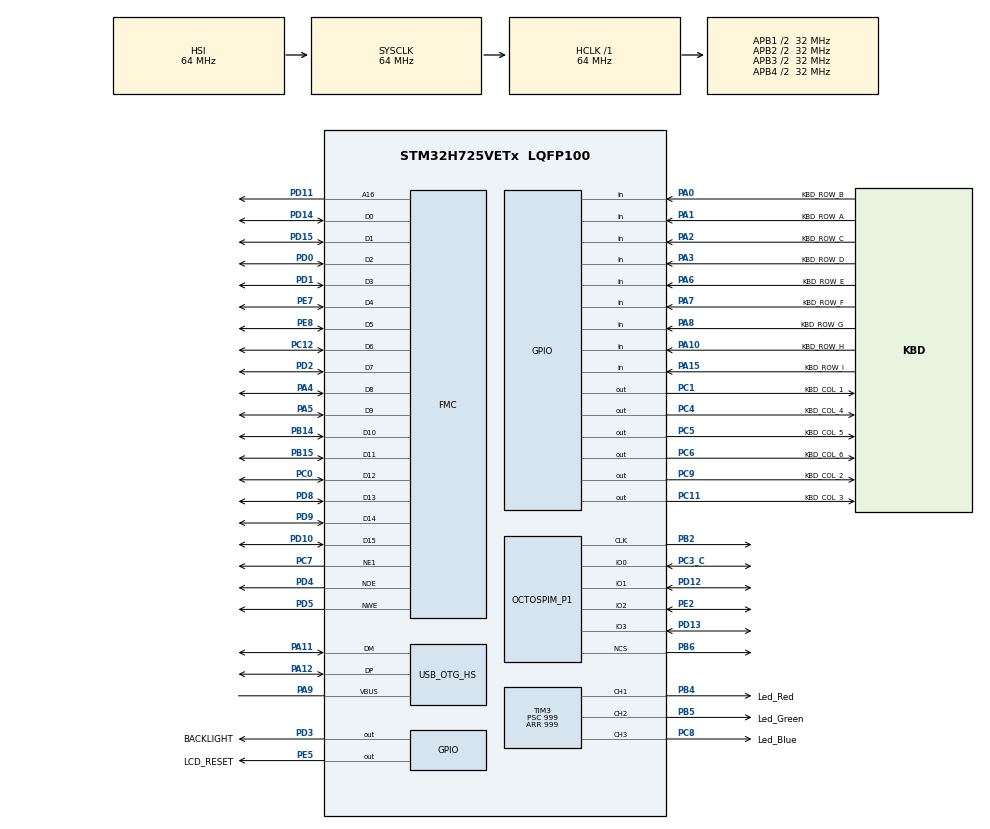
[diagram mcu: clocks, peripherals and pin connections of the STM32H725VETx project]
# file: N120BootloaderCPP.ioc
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CORTEX_M7.default_mode_Activation=0
Mcu.Family=STM32H7
Mcu.Name=STM32H725VETx
Mcu.Package=LQFP100
NVIC.OTG_HS_IRQn=true\:0\:0\:false\:false\:true\:false\:true\:true
NVIC.PriorityGroup=NVIC_PRIORITYGROUP_4
NVIC.TIM2_IRQn=true\:0\:0\:false\:false\:true\:true\:true\:true
OCTOSPI1.ChipSelectHighTime=2
OCTOSPI1.ClockPrescaler=4
OCTOSPI1.DeviceSize=23
OCTOSPI1.DeviceType=SPI_DEVICE_FLASH
OCTOSPI1.FifoThreshold=4
OCTOSPI1.MemoryType=HAL_OSPI_MEMTYPE_MACRONIX_RAM
PA0.GPIO_Label=KBD_ROW_B
PA0.GPIO_PuPd=GPIO_PULLDOWN
PA0.Signal=GPIO_Input
PA1.GPIO_Label=KBD_ROW_A
PA1.GPIO_PuPd=GPIO_PULLDOWN
PA1.Signal=GPIO_Input
PA10.GPIO_Label=KBD_ROW_H
PA10.GPIO_PuPd=GPIO_PULLDOWN
PA10.Signal=GPIO_Input
PA11.Mode=Device_Only_FS
PA11.Signal=USB_OTG_HS_DM
PA12.Mode=Device_Only_FS
PA12.Signal=USB_OTG_HS_DP
PA15(JTDI).GPIO_Label=KBD_ROW_I
PA15(JTDI).GPIO_PuPd=GPIO_PULLDOWN
PA15(JTDI).Signal=GPIO_Input
PA2.GPIO_Label=KBD_ROW_C
PA2.GPIO_PuPd=GPIO_PULLDOWN
PA2.Signal=GPIO_Input
PA3.GPIO_Label=KBD_ROW_D
PA3.GPIO_PuPd=GPIO_PULLDOWN
PA3.Signal=GPIO_Input
PA4.Signal=FMC_D8_DA8
PA5.Signal=FMC_D9_DA9
PA6.GPIO_Label=KBD_ROW_E
PA6.GPIO_PuPd=GPIO_PULLDOWN
PA6.Signal=GPIO_Input
PA7.GPIO_Label=KBD_ROW_F
PA7.GPIO_PuPd=GPIO_PULLDOWN
PA7.Signal=GPIO_Input
PA8.GPIO_Label=KBD_ROW_G
PA8.GPIO_PuPd=GPIO_PULLDOWN
PA8.Signal=GPIO_Input
PA9.Mode=Activate_VBUS_FS
PA9.Signal=USB_OTG_HS_VBUS
PB14.Signal=FMC_D10_DA10
PB15.Signal=FMC_D11_DA11
PB2.Mode=O1_P1_CLK
PB2.Signal=OCTOSPIM_P1_CLK
PB4(NJTRST).GPIO_Label=Led_Red
PB4(NJTRST).Signal=S_TIM3_CH1
PB5.GPIO_Label=Led_Green
PB5.Signal=S_TIM3_CH2
PB6.Mode=OCTOSPI1_Port1_NCS
PB6.Signal=OCTOSPIM_P1_NCS
PC0.Signal=FMC_D12_DA12
PC1.GPIO_Label=KBD_COL_1
PC1.GPIO_PuPd=GPIO_PULLUP
PC1.GPIO_Speed=GPIO_SPEED_FREQ_HIGH
PC1.PinState=GPIO_PIN_RESET
PC1.Signal=GPIO_Output
PC11.GPIO_Label=KBD_COL_3
PC11.GPIO_PuPd=GPIO_PULLUP
PC11.Signal=GPIO_Output
PC12.Signal=FMC_D6_DA6
PC14-OSC32_IN.Mode=LSE-External-Oscillator
PC14-OSC32_IN.Signal=RCC_OSC32_IN
PC15-OSC32_OUT.Mode=LSE-External-Oscillator
PC15-OSC32_OUT.Signal=RCC_OSC32_OUT
PC3_C.Mode=OCTOSPI1_IOL_Port1L
PC3_C.Signal=OCTOSPIM_P1_IO0
PC4.GPIO_Label=KBD_COL_4
PC4.GPIO_PuPd=GPIO_PULLUP
PC4.GPIO_Speed=GPIO_SPEED_FREQ_HIGH
PC4.PinState=GPIO_PIN_RESET
PC4.Signal=GPIO_Output
PC5.GPIO_Label=KBD_COL_5
PC5.GPIO_PuPd=GPIO_PULLUP
PC5.GPIO_Speed=GPIO_SPEED_FREQ_HIGH
PC5.PinState=GPIO_PIN_RESET
PC5.Signal=GPIO_Output
PC6.GPIO_Label=KBD_COL_6
PC6.GPIO_PuPd=GPIO_PULLUP
PC6.Signal=GPIO_Output
PC7.Mode=NorPsramChipSelect1_1
PC7.Signal=FMC_NE1
PC8.GPIO_Label=Led_Blue
PC8.Signal=S_TIM3_CH3
PC9.GPIO_Label=KBD_COL_2
PC9.GPIO_PuPd=GPIO_PULLUP
PC9.Signal=GPIO_Output
PD0.Signal=FMC_D2_DA2
PD1.Signal=FMC_D3_DA3
PD10.Signal=FMC_D15_DA15
PD11.Signal=FMC_A16_CLE
PD12.Mode=OCTOSPI1_IOL_Port1L
PD12.Signal=OCTOSPIM_P1_IO1
PD13.Mode=OCTOSPI1_IOL_Port1L
PD13.Signal=OCTOSPIM_P1_IO3
PD14.Signal=FMC_D0_DA0
PD15.Signal=FMC_D1_DA1
PD2.Signal=FMC_D7_DA7
PD3.GPIO_Label=BACKLIGHT
PD3.Signal=GPIO_Output
PD4.Signal=FMC_NOE
PD5.Signal=FMC_NWE
PD8.Signal=FMC_D13_DA13
PD9.Signal=FMC_D14_DA14
PE2.Mode=OCTOSPI1_IOL_Port1L
PE2.Signal=OCTOSPIM_P1_IO2
PE5.GPIO_Label=LCD_RESET
PE5.Signal=GPIO_Output
PE7.Signal=FMC_D4_DA4
PE8.Signal=FMC_D5_DA5
PH0-OSC_IN.Mode=HSE-External-Oscillator
PH0-OSC_IN.Signal=RCC_OSC_IN
PH1-OSC_OUT.Mode=HSE-External-Oscillator
PH1-OSC_OUT.Signal=RCC_OSC_OUT
ProjectManager.HeapSize=0x200
ProjectManager.StackSize=0x400
ProjectManager.TargetToolchain=STM32CubeIDE
RCC.ADCFreq_Value=50390625
RCC.APB1Freq_Value=32000000
RCC.APB2Freq_Value=32000000
RCC.APB3Freq_Value=32000000
RCC.APB4Freq_Value=32000000
RCC.CortexFreq_Value=64000000
RCC.D1PPRE=RCC_APB3_DIV2
RCC.D2PPRE1=RCC_APB1_DIV2
RCC.D2PPRE2=RCC_APB2_DIV2
RCC.D3PPRE=RCC_APB4_DIV2
RCC.DIVM1=4
RCC.DIVN1=31
RCC.DIVP1=1
RCC.DIVQ1=4
RCC.HCLKFreq_Value=64000000
RCC.PLL2FRACN=0
RCC.PLL3FRACN=0
RCC.PLLFRACN=0
RCC.PLLSourceVirtual=RCC_PLLSOURCE_HSE
RCC.PWR_Regulator_Voltage_Scale=PWR_REGULATOR_VOLTAGE_SCALE1
RCC.SYSCLKFreq_VALUE=64000000
RCC.SupplySource=PWR_DIRECT_SMPS_SUPPLY
RCC.USBCLockSelection=RCC_USBCLKSOURCE_HSI48
RCC.USBFreq_Value=48000000
SH.FMC_A16_CLE.0=FMC_A16,A16_1
SH.FMC_D0_DA0.0=FMC_D0,16b-d1
SH.FMC_D10_DA10.0=FMC_D10,16b-d1
SH.FMC_D11_DA11.0=FMC_D11,16b-d1
SH.FMC_D12_DA12.0=FMC_D12,16b-d1
SH.FMC_D13_DA13.0=FMC_D13,16b-d1
SH.FMC_D14_DA14.0=FMC_D14,16b-d1
SH.FMC_D15_DA15.0=FMC_D15,16b-d1
SH.FMC_D1_DA1.0=FMC_D1,16b-d1
SH.FMC_D2_DA2.0=FMC_D2,16b-d1
SH.FMC_D3_DA3.0=FMC_D3,16b-d1
SH.FMC_D4_DA4.0=FMC_D4,16b-d1
SH.FMC_D5_DA5.0=FMC_D5,16b-d1
SH.FMC_D6_DA6.0=FMC_D6,16b-d1
SH.FMC_D7_DA7.0=FMC_D7,16b-d1
SH.FMC_D8_DA8.0=FMC_D8,16b-d1
SH.FMC_D9_DA9.0=FMC_D9,16b-d1
SH.FMC_NOE.0=FMC_NOE,Lcd1
SH.FMC_NWE.0=FMC_NWE,Lcd1
SH.S_TIM3_CH1.0=TIM3_CH1,PWM Generation1 CH1
SH.S_TIM3_CH2.0=TIM3_CH2,PWM Generation2 CH2
SH.S_TIM3_CH3.0=TIM3_CH3,PWM Generation3 CH3
TIM2.Period=1000
TIM2.Prescaler=9999
TIM3.Channel-PWM\ Generation1\ CH1=TIM_CHANNEL_1
TIM3.Channel-PWM\ Generation2\ CH2=TIM_CHANNEL_2
TIM3.Channel-PWM\ Generation3\ CH3=TIM_CHANNEL_3
TIM3.Period=999
TIM3.Prescaler=999
USB_DEVICE.CLASS_NAME_HS=CDC
USB_DEVICE.VirtualMode=Cdc
USB_DEVICE.VirtualModeHS=Cdc_HS
USB_OTG_HS.VirtualMode-Device_Only_FS=Device_Only_FS
VP_MEMORYMAP_VS_MEMORYMAP.Mode=CurAppReg
VP_OCTOSPI1_VS_quad.Mode=quad_mode
VP_RCC_LSE.Mode=CRS SYNC Source LSE
VP_TIM2_VS_ClockSourceINT.Mode=Internal
VP_USB_DEVICE_VS_USB_DEVICE_CDC_HS.Mode=CDC_HS
board=custom

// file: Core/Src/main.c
/* USER CODE BEGIN Header */
/**
  ******************************************************************************
  * @file           : main.c
  * @brief          : Main program body
  ******************************************************************************
  * @attention
  *
  * Copyright (c) 2025 STMicroelectronics.
  * All rights reserved.
  *
  * This software is licensed under terms that can be found in the LICENSE file
  * in the root directory of this software component.
  * If no LICENSE file comes with this software, it is provided AS-IS.
  *
  ******************************************************************************
  */
/* USER CODE END Header */
#include "main.h"
#include "usb_device.h"

/* USER CODE BEGIN Includes */
#include "usbd_cdc_if.h"
#include <stdio.h>
#include <stdlib.h>
#include <stdarg.h>
#include <string.h>
#include <stdint.h>
#include <inttypes.h>
/* USER CODE END Includes */

/* USER CODE BEGIN PD */
#define CMD_RDID  0x9F
/* USER CODE END PD */

/* USER CODE BEGIN PM */
//#define LCD_BASE    ((uint32_t *) 0x60000000)
/* USER CODE END PM */

OSPI_HandleTypeDef hospi1;

TIM_HandleTypeDef htim2;
TIM_HandleTypeDef htim3;

SRAM_HandleTypeDef hsram1;

/* USER CODE BEGIN PV */
uint16_t rowPins[] = {KBD_ROW_A_Pin, KBD_ROW_B_Pin, KBD_ROW_C_Pin, KBD_ROW_D_Pin, KBD_ROW_E_Pin, KBD_ROW_F_Pin, KBD_ROW_G_Pin, KBD_ROW_H_Pin, KBD_ROW_I_Pin};
GPIO_TypeDef *rowPorts[] = {KBD_ROW_A_GPIO_Port, KBD_ROW_B_GPIO_Port, KBD_ROW_C_GPIO_Port, KBD_ROW_D_GPIO_Port, KBD_ROW_E_GPIO_Port, KBD_ROW_F_GPIO_Port, KBD_ROW_G_GPIO_Port, KBD_ROW_H_GPIO_Port, KBD_ROW_I_GPIO_Port};

uint16_t colPins[] = {KBD_COL_1_Pin, KBD_COL_2_Pin, KBD_COL_3_Pin, KBD_COL_4_Pin, KBD_COL_5_Pin, KBD_COL_6_Pin};
GPIO_TypeDef *colPorts[] = {KBD_COL_1_GPIO_Port, KBD_COL_2_GPIO_Port, KBD_COL_3_GPIO_Port, KBD_COL_4_GPIO_Port, KBD_COL_5_GPIO_Port, KBD_COL_6_GPIO_Port};

Color color = {255, 0, 0};

const static int FSMCMemoryBank = 1;
const static int FSMCDataCommandAddressBit = 16;

const static uint32_t FSMCBaseAddress = 0x60000000;
const static uint32_t FSMCBankAddress = FSMCBaseAddress + (FSMCMemoryBank-1)*0x04000000;

static volatile uint16_t * const CommandAddress = (uint16_t *)(FSMCBankAddress);
static volatile uint16_t * const DataAddress = (uint16_t *)(FSMCBankAddress | (1<<(FSMCDataCommandAddressBit+1)));

void (*timeoutCallback)() = NULL;

typedef enum {
  Nop = 0x00,
  Reset = 0x01,
  ReadDisplayID = 0x04,
  SleepIn = 0x10,
  SleepOut = 0x11,
  DisplayInversionOff = 0x20,
  DisplayInversionOn = 0x21,
  DisplayOff = 0x28,
  DisplayOn = 0x29,
  ColumnAddressSet = 0x2A,
  PageAddressSet = 0x2B,
  MemoryWrite = 0x2C,
  MemoryRead = 0x2E,
  TearingEffectLineOn = 0x35,
  MemoryAccessControl = 0x36,
  PixelFormatSet = 0x3A,
  FrameRateControl = 0xC6,
  PositiveVoltageGammaControl = 0xE0,
  NegativeVoltageGammaControl = 0xE1
} Command;
/* USER CODE END PV */

void SystemClock_Config(void);
static void MX_GPIO_Init(void);
static void MX_TIM3_Init(void);
static void MX_FMC_Init(void);
static void MX_TIM2_Init(void);
static void MX_OCTOSPI1_Init(void);
/* USER CODE BEGIN PFP */
void UART_SendChar(char c);
void UART_SendString(char *str);
void setLedColor(Color color);
int keydown(KeyboardPos pos);
void sendMessage(char *message);
void LCD_WriteCommand(Command cmd);
void LCD_WriteData(uint8_t data);
uint32_t panelIdentifier();
void LCD_Init(void);
void LCD_DrawPixel(uint16_t x, uint16_t y, uint16_t color);
void LCD_SetBrightness(int brightness);
uint16_t RGB565(uint8_t r, uint8_t g, uint8_t b);
uint8_t ReadFlashID(void);
void OctoSPI_SendCommand(uint8_t instruction, uint8_t *data, uint16_t dataSize);
void EnableQuadSPI();

char *uint32_to_str(uint32_t value) {
    char *buffer = (char *)malloc(11 * sizeof(char));
    if (buffer == NULL) return NULL;

    snprintf(buffer, 11, "%lu", value);
    return buffer;
}

char *concat_strings(int num, ...) {
    if (num <= 0) return NULL;

    va_list args;
    va_start(args, num);

    // Calculer la taille totale nécessaire
    size_t total_length = 0;
    for (int i = 0; i < num; i++) {
        const char *str = va_arg(args, const char*);
        if (!str) str = ""; // Gérer les NULL comme des chaînes vides
        total_length += strlen(str);
    }

    va_end(args);

    // Allouer la mémoire pour la chaîne finale
    char *result = (char *)malloc(total_length + 1); // +1 pour '\0'
    if (!result) return NULL;

    result[0] = '\0'; // Initialiser à une chaîne vide

    // Concaténer toutes les chaînes
    va_start(args, num);
    for (int i = 0; i < num; i++) {
        const char *str = va_arg(args, const char*);
        if (!str) str = "";
        strcat(result, str);
    }
    va_end(args);

    return result; // L'utilisateur devra libérer la mémoire
}
/* USER CODE END PFP */

int main(void)
{

  /* MCU Configuration--------------------------------------------------------*/

  /* Reset of all peripherals, Initializes the Flash interface and the Systick. */
  HAL_Init();

  /* Configure the system clock */
  SystemClock_Config();

  /* Initialize all configured peripherals */
  MX_GPIO_Init();
  MX_TIM3_Init();
  MX_USB_DEVICE_Init();
  MX_FMC_Init();
  MX_TIM2_Init();
  MX_OCTOSPI1_Init();
  /* USER CODE BEGIN 2 */
  HAL_TIM_PWM_Start(&htim3, TIM_CHANNEL_1);
  HAL_TIM_PWM_Start(&htim3, TIM_CHANNEL_2);
  HAL_TIM_PWM_Start(&htim3, TIM_CHANNEL_3);

  /*setLedColor((Color){255, 255, 0});
  HAL_Delay(250);
  setLedColor((Color){0, 0, 0});
  HAL_Delay(250);
  setLedColor((Color){255, 255, 0});
  HAL_Delay(250);
  setLedColor((Color){0, 0, 0});
  HAL_Delay(250);

  HAL_GPIO_WritePin(GPIOE, GPIO_PIN_5, 1);
  HAL_Delay(10000);
  sendMessage(uint32_to_str_dynamic(panelIdentifier()));*/
  EnableQuadSPI();

  setLedColor((Color){0, 255, 0});
  HAL_Delay(250);
  setLedColor((Color){0, 0, 0});
  HAL_Delay(250);
  setLedColor((Color){0, 255, 0});
  HAL_Delay(250);
  setLedColor((Color){0, 0, 0});
  HAL_Delay(250);

  //Color color = {255, 0, 0};
  //setLedColor(color);
  /* USER CODE END 2 */

  /* Infinite loop */
  /* USER CODE BEGIN WHILE */
  //LCD_Init();
  //LCD_SetBrightness(1);
  //int b = 0;
  Color color = {255, 0, 0};
  setLedColor(color);
  while (1)
  {
	HAL_Delay(1000);
	sendMessage(uint32_to_str(ReadFlashID()));
	//if(keydown(KEY_SHIFT)) LCD_DrawPixel(10, 10, RGB565(255, 0, 0));
	//if(keydown(KEY_ALPHA)) LCD_DrawPixel(10, 10, RGB565(0, 255, 0));
	//HAL_Delay(100);
	//LCD_WriteCommand(MemoryWrite);
	//LCD_WriteData(RGB565(255, 0, 0));
	//LCD_DrawPixel(10, 10, RGB565(255, 0, 0));
	//LCD_SetBrightness(b + 1);
	//HAL_Delay(500);
	//b++;
	//if(b >= 13) b=13;
	/*if(keydown((KeyboardPos){8, 0})) {

	}*/
	/*if(keydown(KEY_LEFT)) sendMessage("LEFT\r\n");
	if(keydown(KEY_UP)) sendMessage("UP\r\n");
	if(keydown(KEY_DOWN)) sendMessage("DOWN\r\n");
	if(keydown(KEY_RIGHT)) sendMessage("RIGHT\r\n");
	if(keydown(KEY_OK)) sendMessage("OK\r\n");
	if(keydown(KEY_BACK)) sendMessage("BACK\r\n");
	if(keydown(KEY_HOME)) sendMessage("HOME\r\n");
	if(keydown(KEY_ONOFF)) sendMessage("ONOFF\r\n");
	if(keydown(KEY_SHIFT)) sendMessage("SHIFT\r\n");
	if(keydown(KEY_ALPHA)) sendMessage("ALPHA\r\n");
	if(keydown(KEY_XNT)) sendMessage("XNT\r\n");
	if(keydown(KEY_VAR)) sendMessage("VAR\r\n");
	if(keydown(KEY_TOOLBOX)) sendMessage("TOOLBOX\r\n");
	if(keydown(KEY_BACKSPACE)) sendMessage("BACKSPACE\r\n");
	if(keydown(KEY_EXP)) sendMessage("EXP\r\n");
	if(keydown(KEY_LN)) sendMessage("LN\r\n");
	if(keydown(KEY_LOG)) sendMessage("LOG\r\n");
	if(keydown(KEY_IMAGINARY)) sendMessage("IMAGINARY\r\n");
	if(keydown(KEY_COMMA)) sendMessage("COMMA\r\n");
	if(keydown(KEY_POWER)) sendMessage("POWER\r\n");
	if(keydown(KEY_SINE)) sendMessage("SINE\r\n");
	if(keydown(KEY_COSINE)) sendMessage("COSINE\r\n");
	if(keydown(KEY_TANGENT)) sendMessage("TANGENT\r\n");
	if(keydown(KEY_PI)) sendMessage("PI\r\n");
	if(keydown(KEY_SQRT)) sendMessage("SQRT\r\n");
	if(keydown(KEY_SQUARE)) sendMessage("SQUARE\r\n");
	if(keydown(KEY_SEVEN)) sendMessage("SEVEN\r\n");
	if(keydown(KEY_EIGHT)) sendMessage("EIGHT\r\n");
	if(keydown(KEY_NINE)) sendMessage("NINE\r\n");
	if(keydown(KEY_LEFTPARENTHESIS)) sendMessage("LEFTPARENTHESIS\r\n");
	if(keydown(KEY_RIGHTPARENTHESIS)) sendMessage("RIGHTPARENTHESIS\r\n");
	if(keydown(KEY_FOUR)) sendMessage("FOUR\r\n");
	if(keydown(KEY_FIVE)) sendMessage("FIVE\r\n");
	if(keydown(KEY_SIX)) sendMessage("SIX\r\n");
	if(keydown(KEY_MULTIPLICATION)) sendMessage("MULTIPLICATION\r\n");
	if(keydown(KEY_DIVISION)) sendMessage("DIVISION\r\n");
	if(keydown(KEY_ONE)) sendMessage("ONE\r\n");
	if(keydown(KEY_TWO)) sendMessage("TWO\r\n");
	if(keydown(KEY_THREE)) sendMessage("THREE\r\n");
	if(keydown(KEY_PLUS)) sendMessage("PLUS\r\n");
	if(keydown(KEY_MINUS)) sendMessage("MINUS\r\n");
	if(keydown(KEY_ZERO)) sendMessage("ZERO\r\n");
	if(keydown(KEY_DOT)) sendMessage("DOT\r\n");
	if(keydown(KEY_EE)) sendMessage("EE\r\n");
	if(keydown(KEY_ANS)) sendMessage("ANS\r\n");
	if(keydown(KEY_EXE)) sendMessage("EXE\r\n");*/
	//if(keydown(KEY_ONE)) sendMessage("ONE\r\n");
	//HAL_Delay(250);
	/*for (int i=0; i<255; i++) {
		color.Green += 1;
		setLedColor(color);
		HAL_Delay(2);
	}
	for (int i=0; i<255; i++) {
		color.Red -= 1;
		setLedColor(color);
		HAL_Delay(2);
	}
	for (int i=0; i<255; i++) {
		color.Blue += 1;
		setLedColor(color);
		HAL_Delay(2);
	}
	for (int i=0; i<255; i++) {
		color.Green -= 1;
		setLedColor(color);
		HAL_Delay(2);
	}
	for (int i=0; i<255; i++) {
		color.Red += 1;
		setLedColor(color);
		HAL_Delay(2);
	}
	for (int i=0; i<255; i++) {
		color.Blue -= 1;
		setLedColor(color);
		HAL_Delay(2);
	}*/
    /* USER CODE END WHILE */

  }
}

void SystemClock_Config(void)
{
  RCC_OscInitTypeDef RCC_OscInitStruct = {0};
  RCC_ClkInitTypeDef RCC_ClkInitStruct = {0};
  RCC_CRSInitTypeDef RCC_CRSInitStruct = {0};

  /** Supply configuration update enable
  */
  HAL_PWREx_ConfigSupply(PWR_DIRECT_SMPS_SUPPLY);

  /** Configure the main internal regulator output voltage
  */
  __HAL_PWR_VOLTAGESCALING_CONFIG(PWR_REGULATOR_VOLTAGE_SCALE1);

  while(!__HAL_PWR_GET_FLAG(PWR_FLAG_VOSRDY)) {}

  /** Configure LSE Drive Capability
  */
  HAL_PWR_EnableBkUpAccess();
  __HAL_RCC_LSEDRIVE_CONFIG(RCC_LSEDRIVE_LOW);

  /** Initializes the RCC Oscillators according to the specified parameters
  * in the RCC_OscInitTypeDef structure.
  */
  RCC_OscInitStruct.OscillatorType = RCC_OSCILLATORTYPE_HSI48|RCC_OSCILLATORTYPE_HSI
                              |RCC_OSCILLATORTYPE_LSE;
  RCC_OscInitStruct.LSEState = RCC_LSE_ON;
  RCC_OscInitStruct.HSIState = RCC_HSI_DIV1;
  RCC_OscInitStruct.HSICalibrationValue = 64;
  RCC_OscInitStruct.HSI48State = RCC_HSI48_ON;
  RCC_OscInitStruct.PLL.PLLState = RCC_PLL_NONE;
  if (HAL_RCC_OscConfig(&RCC_OscInitStruct) != HAL_OK)
  {
    Error_Handler();
  }

  /** Initializes the CPU, AHB and APB buses clocks
  */
  RCC_ClkInitStruct.ClockType = RCC_CLOCKTYPE_HCLK|RCC_CLOCKTYPE_SYSCLK
                              |RCC_CLOCKTYPE_PCLK1|RCC_CLOCKTYPE_PCLK2
                              |RCC_CLOCKTYPE_D3PCLK1|RCC_CLOCKTYPE_D1PCLK1;
  RCC_ClkInitStruct.SYSCLKSource = RCC_SYSCLKSOURCE_HSI;
  RCC_ClkInitStruct.SYSCLKDivider = RCC_SYSCLK_DIV1;
  RCC_ClkInitStruct.AHBCLKDivider = RCC_HCLK_DIV1;
  RCC_ClkInitStruct.APB3CLKDivider = RCC_APB3_DIV2;
  RCC_ClkInitStruct.APB1CLKDivider = RCC_APB1_DIV2;
  RCC_ClkInitStruct.APB2CLKDivider = RCC_APB2_DIV2;
  RCC_ClkInitStruct.APB4CLKDivider = RCC_APB4_DIV2;

  if (HAL_RCC_ClockConfig(&RCC_ClkInitStruct, FLASH_LATENCY_0) != HAL_OK)
  {
    Error_Handler();
  }

  /** Enable the SYSCFG APB clock
  */
  __HAL_RCC_CRS_CLK_ENABLE();

  /** Configures CRS
  */
  RCC_CRSInitStruct.Prescaler = RCC_CRS_SYNC_DIV1;
  RCC_CRSInitStruct.Source = RCC_CRS_SYNC_SOURCE_LSE;
  RCC_CRSInitStruct.Polarity = RCC_CRS_SYNC_POLARITY_RISING;
  RCC_CRSInitStruct.ReloadValue = __HAL_RCC_CRS_RELOADVALUE_CALCULATE(48000000,32768);
  RCC_CRSInitStruct.ErrorLimitValue = 34;
  RCC_CRSInitStruct.HSI48CalibrationValue = 32;

  HAL_RCCEx_CRSConfig(&RCC_CRSInitStruct);
}

static void MX_OCTOSPI1_Init(void)
{

  OSPIM_CfgTypeDef sOspiManagerCfg = {0};

  /* OCTOSPI1 parameter configuration*/
  hospi1.Instance = OCTOSPI1;
  hospi1.Init.FifoThreshold = 4;
  hospi1.Init.DualQuad = HAL_OSPI_DUALQUAD_DISABLE;
  hospi1.Init.MemoryType = HAL_OSPI_MEMTYPE_MACRONIX_RAM;
  hospi1.Init.DeviceSize = 23;
  hospi1.Init.ChipSelectHighTime = 2;
  hospi1.Init.FreeRunningClock = HAL_OSPI_FREERUNCLK_DISABLE;
  hospi1.Init.ClockMode = HAL_OSPI_CLOCK_MODE_0;
  hospi1.Init.WrapSize = HAL_OSPI_WRAP_NOT_SUPPORTED;
  hospi1.Init.ClockPrescaler = 4;
  hospi1.Init.SampleShifting = HAL_OSPI_SAMPLE_SHIFTING_NONE;
  hospi1.Init.DelayHoldQuarterCycle = HAL_OSPI_DHQC_DISABLE;
  hospi1.Init.ChipSelectBoundary = 0;
  hospi1.Init.DelayBlockBypass = HAL_OSPI_DELAY_BLOCK_BYPASSED;
  hospi1.Init.MaxTran = 0;
  hospi1.Init.Refresh = 0;
  if (HAL_OSPI_Init(&hospi1) != HAL_OK)
  {
    Error_Handler();
  }
  sOspiManagerCfg.ClkPort = 1;
  sOspiManagerCfg.NCSPort = 1;
  sOspiManagerCfg.IOLowPort = HAL_OSPIM_IOPORT_1_LOW;
  if (HAL_OSPIM_Config(&hospi1, &sOspiManagerCfg, HAL_OSPI_TIMEOUT_DEFAULT_VALUE) != HAL_OK)
  {
    Error_Handler();
  }

}

static void MX_TIM2_Init(void)
{

  TIM_ClockConfigTypeDef sClockSourceConfig = {0};
  TIM_MasterConfigTypeDef sMasterConfig = {0};

  htim2.Instance = TIM2;
  htim2.Init.Prescaler = 9999;
  htim2.Init.CounterMode = TIM_COUNTERMODE_UP;
  htim2.Init.Period = 1000;
  htim2.Init.ClockDivision = TIM_CLOCKDIVISION_DIV1;
  htim2.Init.AutoReloadPreload = TIM_AUTORELOAD_PRELOAD_DISABLE;
  if (HAL_TIM_Base_Init(&htim2) != HAL_OK)
  {
    Error_Handler();
  }
  sClockSourceConfig.ClockSource = TIM_CLOCKSOURCE_INTERNAL;
  if (HAL_TIM_ConfigClockSource(&htim2, &sClockSourceConfig) != HAL_OK)
  {
    Error_Handler();
  }
  sMasterConfig.MasterOutputTrigger = TIM_TRGO_RESET;
  sMasterConfig.MasterSlaveMode = TIM_MASTERSLAVEMODE_DISABLE;
  if (HAL_TIMEx_MasterConfigSynchronization(&htim2, &sMasterConfig) != HAL_OK)
  {
    Error_Handler();
  }

}

static void MX_TIM3_Init(void)
{

  TIM_MasterConfigTypeDef sMasterConfig = {0};
  TIM_OC_InitTypeDef sConfigOC = {0};

  htim3.Instance = TIM3;
  htim3.Init.Prescaler = 999;
  htim3.Init.CounterMode = TIM_COUNTERMODE_UP;
  htim3.Init.Period = 999;
  htim3.Init.ClockDivision = TIM_CLOCKDIVISION_DIV1;
  htim3.Init.AutoReloadPreload = TIM_AUTORELOAD_PRELOAD_DISABLE;
  if (HAL_TIM_PWM_Init(&htim3) != HAL_OK)
  {
    Error_Handler();
  }
  sMasterConfig.MasterOutputTrigger = TIM_TRGO_RESET;
  sMasterConfig.MasterSlaveMode = TIM_MASTERSLAVEMODE_DISABLE;
  if (HAL_TIMEx_MasterConfigSynchronization(&htim3, &sMasterConfig) != HAL_OK)
  {
    Error_Handler();
  }
  sConfigOC.OCMode = TIM_OCMODE_PWM1;
  sConfigOC.Pulse = 0;
  sConfigOC.OCPolarity = TIM_OCPOLARITY_HIGH;
  sConfigOC.OCFastMode = TIM_OCFAST_DISABLE;
  if (HAL_TIM_PWM_ConfigChannel(&htim3, &sConfigOC, TIM_CHANNEL_1) != HAL_OK)
  {
    Error_Handler();
  }
  if (HAL_TIM_PWM_ConfigChannel(&htim3, &sConfigOC, TIM_CHANNEL_2) != HAL_OK)
  {
    Error_Handler();
  }
  if (HAL_TIM_PWM_ConfigChannel(&htim3, &sConfigOC, TIM_CHANNEL_3) != HAL_OK)
  {
    Error_Handler();
  }
  HAL_TIM_MspPostInit(&htim3);

}

/* FMC initialization function */
static void MX_FMC_Init(void)
{

  FMC_NORSRAM_TimingTypeDef Timing = {0};

  /** Perform the SRAM1 memory initialization sequence
  */
  hsram1.Instance = FMC_NORSRAM_DEVICE;
  hsram1.Extended = FMC_NORSRAM_EXTENDED_DEVICE;
  /* hsram1.Init */
  hsram1.Init.NSBank = FMC_NORSRAM_BANK1;
  hsram1.Init.DataAddressMux = FMC_DATA_ADDRESS_MUX_DISABLE;
  hsram1.Init.MemoryType = FMC_MEMORY_TYPE_SRAM;
  hsram1.Init.MemoryDataWidth = FMC_NORSRAM_MEM_BUS_WIDTH_16;
  hsram1.Init.BurstAccessMode = FMC_BURST_ACCESS_MODE_DISABLE;
  hsram1.Init.WaitSignalPolarity = FMC_WAIT_SIGNAL_POLARITY_LOW;
  hsram1.Init.WaitSignalActive = FMC_WAIT_TIMING_BEFORE_WS;
  hsram1.Init.WriteOperation = FMC_WRITE_OPERATION_ENABLE;
  hsram1.Init.WaitSignal = FMC_WAIT_SIGNAL_DISABLE;
  hsram1.Init.ExtendedMode = FMC_EXTENDED_MODE_DISABLE;
  hsram1.Init.AsynchronousWait = FMC_ASYNCHRONOUS_WAIT_DISABLE;
  hsram1.Init.WriteBurst = FMC_WRITE_BURST_DISABLE;
  hsram1.Init.ContinuousClock = FMC_CONTINUOUS_CLOCK_SYNC_ONLY;
  hsram1.Init.WriteFifo = FMC_WRITE_FIFO_ENABLE;
  hsram1.Init.PageSize = FMC_PAGE_SIZE_NONE;
  /* Timing */
  Timing.AddressSetupTime = 15;
  Timing.AddressHoldTime = 15;
  Timing.DataSetupTime = 255;
  Timing.BusTurnAroundDuration = 15;
  Timing.CLKDivision = 16;
  Timing.DataLatency = 17;
  Timing.AccessMode = FMC_ACCESS_MODE_A;
  /* ExtTiming */

  if (HAL_SRAM_Init(&hsram1, &Timing, NULL) != HAL_OK)
  {
    Error_Handler( );
  }

}

static void MX_GPIO_Init(void)
{
  GPIO_InitTypeDef GPIO_InitStruct = {0};

  /* GPIO Ports Clock Enable */
  __HAL_RCC_GPIOE_CLK_ENABLE();
  __HAL_RCC_GPIOC_CLK_ENABLE();
  __HAL_RCC_GPIOH_CLK_ENABLE();
  __HAL_RCC_GPIOA_CLK_ENABLE();
  __HAL_RCC_GPIOB_CLK_ENABLE();
  __HAL_RCC_GPIOD_CLK_ENABLE();

  /*Configure GPIO pin Output Level */
  HAL_GPIO_WritePin(LCD_RESET_GPIO_Port, LCD_RESET_Pin, GPIO_PIN_RESET);

  /*Configure GPIO pin Output Level */
  HAL_GPIO_WritePin(GPIOC, KBD_COL_1_Pin|KBD_COL_4_Pin|KBD_COL_5_Pin|KBD_COL_6_Pin
                          |KBD_COL_2_Pin|KBD_COL_3_Pin, GPIO_PIN_RESET);

  /*Configure GPIO pin Output Level */
  HAL_GPIO_WritePin(BACKLIGHT_GPIO_Port, BACKLIGHT_Pin, GPIO_PIN_RESET);

  /*Configure GPIO pin : LCD_RESET_Pin */
  GPIO_InitStruct.Pin = LCD_RESET_Pin;
  GPIO_InitStruct.Mode = GPIO_MODE_OUTPUT_PP;
  GPIO_InitStruct.Pull = GPIO_NOPULL;
  GPIO_InitStruct.Speed = GPIO_SPEED_FREQ_LOW;
  HAL_GPIO_Init(LCD_RESET_GPIO_Port, &GPIO_InitStruct);

  /*Configure GPIO pins : KBD_COL_1_Pin KBD_COL_4_Pin KBD_COL_5_Pin */
  GPIO_InitStruct.Pin = KBD_COL_1_Pin|KBD_COL_4_Pin|KBD_COL_5_Pin;
  GPIO_InitStruct.Mode = GPIO_MODE_OUTPUT_PP;
  GPIO_InitStruct.Pull = GPIO_PULLUP;
  GPIO_InitStruct.Speed = GPIO_SPEED_FREQ_HIGH;
  HAL_GPIO_Init(GPIOC, &GPIO_InitStruct);

  /*Configure GPIO pins : KBD_ROW_B_Pin KBD_ROW_A_Pin KBD_ROW_C_Pin KBD_ROW_D_Pin
                           KBD_ROW_E_Pin KBD_ROW_F_Pin KBD_ROW_G_Pin KBD_ROW_H_Pin
                           KBD_ROW_I_Pin */
  GPIO_InitStruct.Pin = KBD_ROW_B_Pin|KBD_ROW_A_Pin|KBD_ROW_C_Pin|KBD_ROW_D_Pin
                          |KBD_ROW_E_Pin|KBD_ROW_F_Pin|KBD_ROW_G_Pin|KBD_ROW_H_Pin
                          |KBD_ROW_I_Pin;
  GPIO_InitStruct.Mode = GPIO_MODE_INPUT;
  GPIO_InitStruct.Pull = GPIO_PULLDOWN;
  HAL_GPIO_Init(GPIOA, &GPIO_InitStruct);

  /*Configure GPIO pins : KBD_COL_6_Pin KBD_COL_2_Pin KBD_COL_3_Pin */
  GPIO_InitStruct.Pin = KBD_COL_6_Pin|KBD_COL_2_Pin|KBD_COL_3_Pin;
  GPIO_InitStruct.Mode = GPIO_MODE_OUTPUT_PP;
  GPIO_InitStruct.Pull = GPIO_PULLUP;
  GPIO_InitStruct.Speed = GPIO_SPEED_FREQ_LOW;
  HAL_GPIO_Init(GPIOC, &GPIO_InitStruct);

  /*Configure GPIO pin : BACKLIGHT_Pin */
  GPIO_InitStruct.Pin = BACKLIGHT_Pin;
  GPIO_InitStruct.Mode = GPIO_MODE_OUTPUT_PP;
  GPIO_InitStruct.Pull = GPIO_NOPULL;
  GPIO_InitStruct.Speed = GPIO_SPEED_FREQ_LOW;
  HAL_GPIO_Init(BACKLIGHT_GPIO_Port, &GPIO_InitStruct);

}

/* USER CODE BEGIN 4 */
void setLedColor(Color c) {
  color = c;
  __HAL_TIM_SET_COMPARE(&htim3, TIM_CHANNEL_1, color.Red*1000/255);
  __HAL_TIM_SET_COMPARE(&htim3, TIM_CHANNEL_2, color.Green*1000/255);
  __HAL_TIM_SET_COMPARE(&htim3, TIM_CHANNEL_3, color.Blue*1000/255);
}

int keydown(KeyboardPos pos) {
	uint16_t rowPin = rowPins[pos.row];
	GPIO_TypeDef* rowPort = rowPorts[pos.row];
	uint16_t colPin = colPins[pos.col];
	GPIO_TypeDef* colPort = colPorts[pos.col];
	HAL_GPIO_WritePin(colPort, colPin, GPIO_PIN_SET);
	GPIO_PinState down = HAL_GPIO_ReadPin(rowPort, rowPin);
	HAL_GPIO_WritePin(colPort, colPin, GPIO_PIN_RESET);
	return down;
}

uint32_t panelIdentifier() {
  LCD_WriteCommand(ReadDisplayID);
  *DataAddress; // Dummy read, per datasheet
  uint8_t id1 = *DataAddress;
  uint8_t id2 = *DataAddress;
  uint8_t id3 = *DataAddress;

  return (id1 << 16) | (id2 << 8) | id3;
}

void setTimeout(void (*callback)(), uint32_t delay_ms) {
    timeoutCallback = callback;  // Stocke la fonction callback
    __HAL_TIM_SET_AUTORELOAD(&htim2, delay_ms - 1);  // Définit la durée
    __HAL_TIM_SET_COUNTER(&htim2, 0);  // Réinitialise le compteur
    HAL_TIM_Base_Start_IT(&htim2);  // Démarre le Timer avec interruption
}

void HAL_TIM_PeriodElapsedCallback(TIM_HandleTypeDef *htim) {
    if (htim == &htim2) {  // Vérifie si c'est bien TIM2
        HAL_TIM_Base_Stop_IT(&htim2);  // Stoppe le Timer
        if (timeoutCallback) timeoutCallback();  // Exécute la fonction
    }
}

void resetLed() {
  setLedColor((Color){0, 0, 0});
}

void sendMessage(char *message) {
  uint16_t len = strlen(message);
  CDC_Transmit_HS((uint8_t *)message, len);
  timeoutCallback = NULL;
  setLedColor((Color){255, 255, 0});
  setTimeout(resetLed, 300);
}

void LCD_WriteCommand(Command cmd)
{
  //GPIOB->ODR &= ~GPIO_PIN_11;  // RS = 0 pour commande
  *(volatile uint16_t *)(CommandAddress) = cmd;
}

void LCD_WriteData(uint8_t data)
{
    //GPIOB->ODR |= GPIO_PIN_11;   // RS = 1 pour données
    *(volatile uint16_t *)(DataAddress) = data;
}

void LCD_Init(void)
{
    // Reset de l'écran
    /*HAL_GPIO_WritePin(GPIOB, GPIO_PIN_10, GPIO_PIN_RESET);  // RESET = 0
    HAL_Delay(50);
    HAL_GPIO_WritePin(GPIOB, GPIO_PIN_10, GPIO_PIN_SET);    // RESET = 1
    HAL_Delay(50);

    // Commande de sortie du mode Sleep
    LCD_WriteCommand(0x11);  // Sleep out
    HAL_Delay(120);

    // Configuration de la fenêtre d'affichage
    LCD_WriteCommand(0x36);  // Memory Access Control
    LCD_WriteData(0x00);     // Orientation (de gauche à droite, de haut en bas)

    LCD_WriteCommand(0x3A);  // Pixel format set
    LCD_WriteData(0x05);     // 16 bits par pixel

    // Configuration du contrôle de contraste (gamma)
    LCD_WriteCommand(0xC0);  // Power control 1
    LCD_WriteData(0x10);     // Valeur spécifique pour le ST7789V
    LCD_WriteData(0x3B);     // Valeur spécifique pour le ST7789V

    LCD_WriteCommand(0x29);  // Display ON
    HAL_Delay(100);*/
}

void LCD_DrawPixel(uint16_t x, uint16_t y, uint16_t color)
{
	sendMessage(concat_strings(7,"SET_PIXEL(",uint32_to_str(x),",",uint32_to_str(y),",",uint32_to_str(color),")"));
    /*LCD_WriteCommand(0x2A); // Commande pour définir les colonnes
    LCD_WriteData(x >> 8);  // Adresse haute de x
    LCD_WriteData(x & 0xFF); // Adresse basse de x

    LCD_WriteCommand(0x2B); // Commande pour définir les lignes
    LCD_WriteData(y >> 8);  // Adresse haute de y
    LCD_WriteData(y & 0xFF); // Adresse basse de y

    LCD_WriteCommand(0x2C); // Commande pour écrire les données du pixel
    LCD_WriteData(color >> 8); // Couleur (partie haute)
    LCD_WriteData(color & 0xFF); // Couleur (partie basse)*/
}

void LCD_FillRect(uint16_t x, uint16_t y, uint16_t width, uint16_t height, uint16_t color) {
	sendMessage(concat_strings(11,"FILL_RECT(",uint32_to_str(x),",",uint32_to_str(y),",",uint32_to_str(width),",",uint32_to_str(height),",",uint32_to_str(color),")"));
}

void LCD_DrawString(uint16_t x, uint16_t y, char* text, uint16_t color1, uint16_t color2) {
	sendMessage(concat_strings(11,"DRAW_STRING(",uint32_to_str(x),",",uint32_to_str(y),",",text,",",uint32_to_str(color1),",",uint32_to_str(color2),")"));
}

uint16_t RGB565(uint8_t r, uint8_t g, uint8_t b)
{
    return ((r & 0xF8) << 8) | ((g & 0xFC) << 3) | (b >> 3);
}

void LCD_SetBrightness(int brightness) {
  for (int i=0; i<brightness; i++) {
	//HAL_GPIO_WritePin(BACKLIGHT_GPIO_Port, BACKLIGHT_Pin, 0);
	HAL_Delay(0.01);
	//HAL_GPIO_WritePin(BACKLIGHT_GPIO_Port, BACKLIGHT_Pin, 1);
	HAL_Delay(0.01);
  }
}

void OctoSPI_SendCommand(uint8_t instruction, uint8_t *data, uint16_t dataSize) {
    OSPI_RegularCmdTypeDef sCommand = {0};

    sCommand.OperationType      = HAL_OSPI_OPTYPE_COMMON_CFG;
    sCommand.FlashId            = HAL_OSPI_FLASH_ID_1;
    sCommand.Instruction        = instruction;
    sCommand.InstructionMode    = HAL_OSPI_INSTRUCTION_1_LINE; // 1 ligne pour l'instruction
    sCommand.AddressMode        = HAL_OSPI_ADDRESS_NONE;       // Pas d'adresse pour lire l'ID
    sCommand.AlternateBytesMode = HAL_OSPI_ALTERNATE_BYTES_NONE;
    sCommand.DataMode           = HAL_OSPI_DATA_1_LINE;        // 1 ligne pour les données
    sCommand.NbData             = dataSize;                    // Nombre de bytes à recevoir
    sCommand.DummyCycles        = 0;
    sCommand.DQSMode            = HAL_OSPI_DQS_DISABLE;
    sCommand.SIOOMode           = HAL_OSPI_SIOO_INST_EVERY_CMD;

    if (HAL_OSPI_Command(&hospi1, &sCommand, HAL_MAX_DELAY) != HAL_OK) {
        Error_Handler();
    }

    if (HAL_OSPI_Receive(&hospi1, data, HAL_MAX_DELAY) != HAL_OK) {
    	Error_Handler();
    }
}

uint8_t ReadFlashID(void) {
	uint8_t id[3] = {0};
	OctoSPI_SendCommand(CMD_RDID, id, 3); // 0x9F = Commande Read ID
	return id[0];
}

void EnableQuadSPI()
{
    OSPI_RegularCmdTypeDef sCommand;
    uint8_t reg;

    // Lire le registre de statut
    memset(&sCommand, 0, sizeof(sCommand));
    sCommand.OperationType = HAL_OSPI_OPTYPE_COMMON_CFG;
    sCommand.FlashId = HAL_OSPI_FLASH_ID_1;
    sCommand.Instruction = 0x05; // Read Status Register
    sCommand.InstructionMode = HAL_OSPI_INSTRUCTION_1_LINE;
    sCommand.DataMode = HAL_OSPI_DATA_1_LINE;
    sCommand.NbData = 1;

    HAL_OSPI_Command(&hospi1, &sCommand, HAL_MAX_DELAY);
    HAL_OSPI_Receive(&hospi1, &reg, HAL_MAX_DELAY);

    // Activer Quad Enable Bit (QE = bit 6)
    reg |= (1 << 6);

    // Écrire le registre de statut
    sCommand.Instruction = 0x01; // Write Status Register
    HAL_OSPI_Command(&hospi1, &sCommand, HAL_MAX_DELAY);
    HAL_OSPI_Transmit(&hospi1, &reg, HAL_MAX_DELAY);

    sendMessage("Quad SPI activé !\n");
}
/* USER CODE END 4 */

void Error_Handler(void)
{
  /* USER CODE BEGIN Error_Handler_Debug */
  /* User can add his own implementation to report the HAL error return state */
  __disable_irq();
  //Color color = {255, 0, 0};
  //setLedColor(color);
  while(1) {
	for (int i=0; i<255; i++) {
	  color.Red -= 1;
	  setLedColor(color);
	  HAL_Delay(2);
	}
	for (int i=0; i<255; i++) {
	  color.Red += 1;
	  setLedColor(color);
	  HAL_Delay(2);
	}
  }
  /* USER CODE END Error_Handler_Debug */
}
